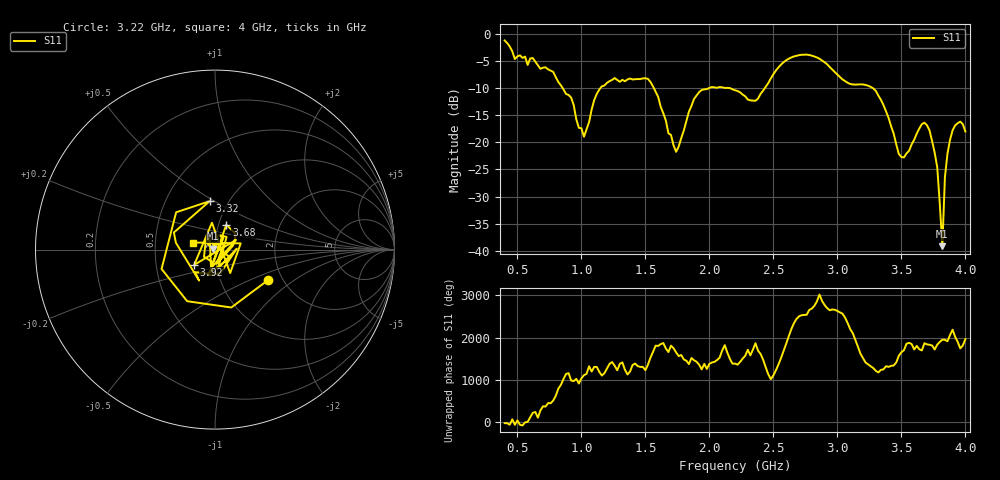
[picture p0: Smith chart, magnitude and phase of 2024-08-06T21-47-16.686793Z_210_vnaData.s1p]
!Created with skrf (http://scikit-rf.org).
# Hz S RI R 50.0
!freq ReS11 ImS11
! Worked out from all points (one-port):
!   181 points, 400 MHz to 4 GHz, reference 50 ohm
!   lowest |S11| = -39.2 dB at 3.82 GHz (marker M1), VSWR 1.02, Z = 49 + j0.511 ohm
!   |S11| at or under -10 dB: 855 MHz to 1.147 GHz (292 MHz wide, 29.2 % of centre); 1.567 GHz to 1.991 GHz (424.5 MHz wide, 23.9 % of centre); 3.28 GHz to end of sweep (the widest 3 of 4)
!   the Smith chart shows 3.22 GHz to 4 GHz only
!   S11 on the Smith chart (normalised r, x): 3.22 GHz: 1.68, -0.65; 3.32 GHz: 0.82, +0.48; 3.68 GHz: 1.09, +0.31; 3.92 GHz: 0.78, -0.14; 4 GHz: 0.78, +0.06
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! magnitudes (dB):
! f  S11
! 400 MHz  -1.1
! 480 MHz  -4.6
! 620 MHz  -4.4
! 860 MHz  -10.2
! 1.02 GHz  -18.9
! 1.14 GHz  -10.2
! 1.3 GHz  -8.8
! 1.52 GHz  -8.2
! 1.74 GHz  -21.7
! 1.76 GHz  -20.8
! 1.92 GHz  -10.7
! 2.2 GHz  -10.3
! 2.36 GHz  -12.3
! 2.66 GHz  -4.1
! 2.86 GHz  -4.5
! 3.1 GHz  -9.2
! 3.22 GHz  -9.4
! 3.32 GHz  -11.3
! 3.48 GHz  -22.1
! 3.56 GHz  -21.5
! 3.68 GHz  -16.3
! 3.72 GHz  -17.8
! 3.78 GHz  -24.6
! 3.82 GHz  -39.2
! 3.84 GHz  -26.4
! 3.88 GHz  -19.5
! 3.92 GHz  -16.8
! 4 GHz  -18.0
